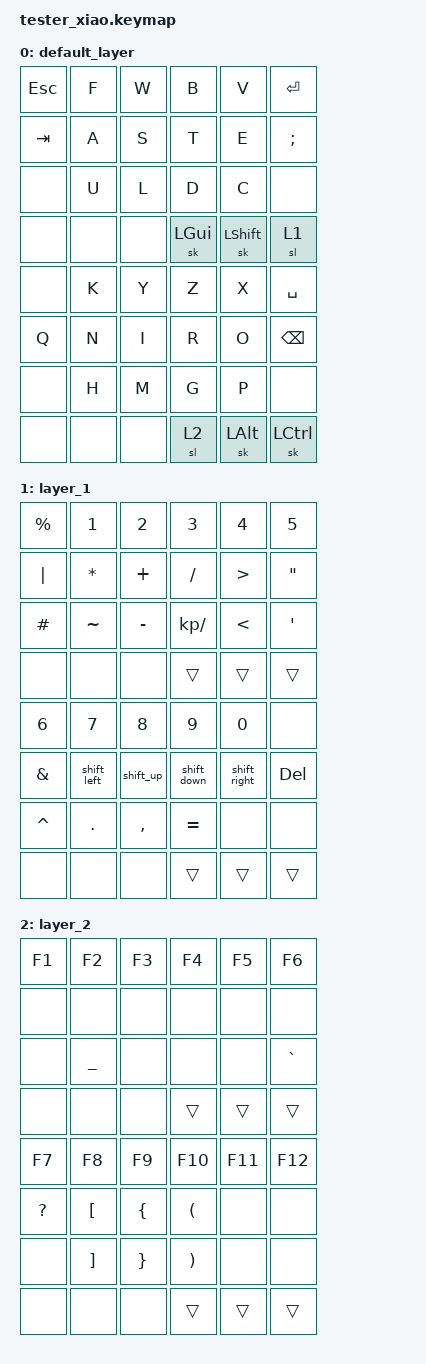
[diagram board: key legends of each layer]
#include <behaviors.dtsi>
#include <dt-bindings/zmk/keys.h>

/ {
    behaviors {
        shift_left: shift_left {
            compatible = "zmk,behavior-mod-morph";
            #binding-cells = <0>;
            bindings = <&kp LEFT>, <&kp HOME>;
            mods = <(MOD_LSFT|MOD_RSFT)>;
        };

        
        shift_up: shift_up {
            compatible = "zmk,behavior-mod-morph";
            #binding-cells = <0>;
            bindings = <&kp LEFT>, <&kp PAGE_UP>;
            mods = <(MOD_LSFT|MOD_RSFT)>;
        };

        shift_down: shift_down {
            compatible = "zmk,behavior-mod-morph";
            #binding-cells = <0>;
            bindings = <&kp LEFT>, <&kp PAGE_DOWN>;
            mods = <(MOD_LSFT|MOD_RSFT)>;
        };

        shift_right: shift_right {
            compatible = "zmk,behavior-mod-morph";
            #binding-cells = <0>;
            bindings = <&kp LEFT>, <&kp END>;
            mods = <(MOD_LSFT|MOD_RSFT)>;
        };
    };

    keymap {
        compatible = "zmk,keymap";

        default_layer {
            bindings = <
                &kp ESC  &kp F  &kp W  &kp B      &kp V       &kp ENTER
                &kp TAB  &kp A  &kp S  &kp T      &kp E       &kp SEMI
                &none    &kp U  &kp L  &kp D      &kp C       &none
                &none    &none  &none  &sk LGUI   &sk LSHIFT  &sl 1

                &none    &kp K  &kp Y  &kp Z      &kp X      &kp SPACE
                &kp Q    &kp N  &kp I  &kp R      &kp O      &kp BACKSPACE
                &none    &kp H  &kp M  &kp G      &kp P      &none
                &none    &none  &none  &sl 2      &sk LALT   &sk LCTRL
            >;
        };

        layer_1 {
            bindings = <
                &kp PERCENT  &kp N1     &kp N2     &kp N3         &kp N4  &kp N5
                &kp PIPE     &kp STAR   &kp PLUS   &kp SLASH      &kp GT  &kp DQT
                &kp HASH     &kp TILDE  &kp MINUS  &kp KP_DIVIDE  &kp LT  &kp SQT
                &none        &none      &none      &trans         &trans  &trans


                &kp N6       &kp N7               &kp N8                &kp N9                    &kp N0               &none
                &kp AMPS     &shift_left  &shift_up  &shift_down  &shift_right  &kp DEL
                &kp CARET    &kp DOT              &kp COMMA             &kp EQUAL                 &none                &none
                &none        &none                &none                 &trans                    &trans               &trans
            >;
        };

        layer_2 {
            bindings = <
                &kp F1    &kp F2     &kp F3  &kp F4  &kp F5  &kp F6
                &none  &none  &none   &none   &none   &none
                &none  &kp UNDER  &none   &none   &none   &kp GRAVE
                &none     &none      &none   &trans  &trans  &trans


               &kp F7     &kp F8             &kp F9           &kp F10   &kp F11   &kp F12
               &kp QMARK  &kp LEFT_BRACKET   &kp LEFT_BRACE   &kp LPAR  &none  &none
               &none      &kp RIGHT_BRACKET  &kp RIGHT_BRACE  &kp RPAR  &none     &none
               &none      &none              &none            &trans    &trans    &trans
            >;
        };
    };
};
